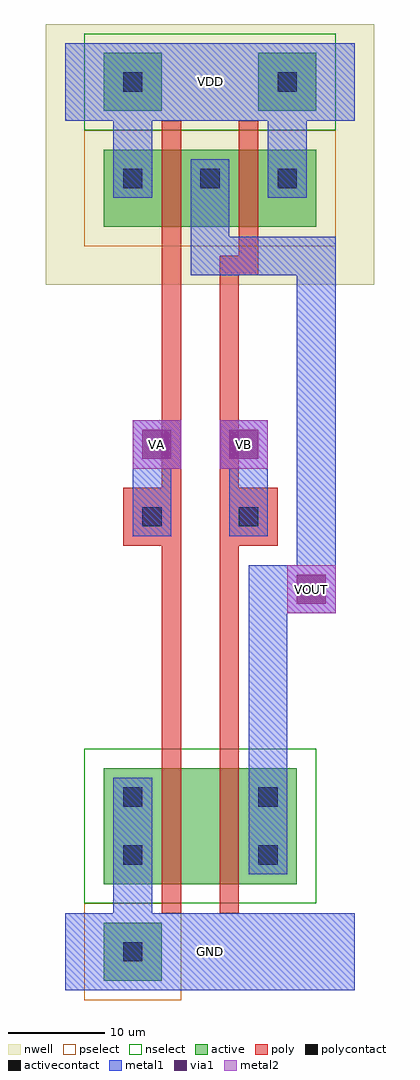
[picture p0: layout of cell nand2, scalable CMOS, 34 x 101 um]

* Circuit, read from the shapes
.subckt nand2 GND VA VB VDD VOUT
M1 n1 VA GND GND nfet w=12u l=2u
M2 VOUT VB n1 GND nfet w=12u l=2u
M3 VOUT VA VDD VDD pfet w=8u l=2u
M4 VDD VB VOUT VDD pfet w=8u l=2u
.ends

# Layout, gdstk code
import gdstk
lib = gdstk.Library(unit=1e-6, precision=1e-09)
def R(c, l, rs):  # rectangles x0, y0, x1, y1
    for r in rs: c.add(gdstk.rectangle(r[:2], r[2:], *l))
def A(c, l, x, y, w, h, nx, ny, dx, dy):  # array of equal rectangles
    R(c, l, [(x+i*dx, y+j*dy, x+i*dx+w, y+j*dy+h) for i in range(nx) for j in range(ny)])
nwell = (42, 0)
active = (43, 0)
pselect = (44, 0)
nselect = (45, 0)
poly = (46, 0)
polycontact = (47, 0)
activecontact = (48, 0)
metal1 = (49, 0)
via1 = (50, 0)
metal2 = (51, 0)

nand2 = lib.new_cell('nand2')
R(nand2, nwell, [(402,-492,436,-465)])
R(nand2, active, [(408,-564,414,-558), (408,-554,428,-548), (408,-548,428,-542), (408,-486,430,-484), (408,-484,430,-478), (408,-474,414,-468), (424,-474,430,-468)])
R(nand2, pselect, [(406,-566,416,-556), (406,-488,432,-476)])
R(nand2, nselect, [(406,-556,430,-540), (406,-476,432,-466)])
R(nand2, poly, [(414,-557,416,-545), (420,-557,422,-545), (410,-519,416,-513), (420,-519,426,-513), (414,-489,416,-475), (422,-489,424,-475)])
R(nand2, polycontact, [(412,-517,414,-515), (422,-517,424,-515)])
A(nand2, activecontact, 410, -482, 2, 2, 3, 1, 8, 0)
R(nand2, activecontact, [(410,-562,412,-560), (410,-552,412,-550), (424,-552,426,-550), (410,-546,412,-544), (424,-546,426,-544), (410,-472,412,-470), (426,-472,428,-470)])
A(nand2, metal1, 409, -483, 4, 4, 3, 1, 8, 0)
R(nand2, metal1, [(404,-565,434,-557), (409,-563,413,-559), (409,-553,413,-549), (423,-553,427,-549), (409,-547,413,-543), (423,-547,427,-543), (427,-526,432,-521), (411,-518,415,-514), (421,-518,425,-514), (411,-511,416,-506), (420,-511,425,-506), (404,-475,434,-467), (409,-473,413,-469), (425,-473,429,-469)])
R(nand2, via1, [(428,-525,431,-522), (412,-510,415,-507), (421,-510,424,-507)])
R(nand2, metal2, [(427,-526,432,-521), (411,-511,416,-506), (420,-511,425,-506)])
nand2.add(gdstk.FlexPath([(425,-543),(425,-521)], 4, ends="flush", simple_path=True, layer=49, datatype=0))  # metal1
nand2.add(gdstk.FlexPath([(430,-517),(430,-497)], 4, ends="flush", simple_path=True, layer=49, datatype=0))  # metal1
nand2.add(gdstk.FlexPath([(417,-489),(432,-489)], 4, ends="flush", simple_path=True, layer=49, datatype=0))  # metal1
nand2.add(gdstk.FlexPath([(419,-483),(419,-487)], 4, ends="flush", simple_path=True, layer=49, datatype=0))  # metal1
nand2.add(gdstk.FlexPath([(430,-491),(430,-497)], 4, ends="flush", simple_path=True, layer=49, datatype=0))  # metal1
nand2.add(gdstk.FlexPath([(423,-514),(423,-511)], 4, ends="flush", simple_path=True, layer=49, datatype=0))  # metal1
nand2.add(gdstk.FlexPath([(413,-514),(413,-511)], 4, ends="flush", simple_path=True, layer=49, datatype=0))  # metal1
nand2.add(gdstk.FlexPath([(411,-473),(411,-479)], 4, ends="flush", simple_path=True, layer=49, datatype=0))  # metal1
nand2.add(gdstk.FlexPath([(427,-473),(427,-479)], 4, ends="flush", simple_path=True, layer=49, datatype=0))  # metal1
nand2.add(gdstk.FlexPath([(430,-517),(430,-521)], 4, ends="flush", simple_path=True, layer=49, datatype=0))  # metal1
nand2.add(gdstk.FlexPath([(411,-553),(411,-559)], 4, ends="flush", simple_path=True, layer=49, datatype=0))  # metal1
nand2.add(gdstk.FlexPath([(425,-549),(425,-547)], 4, ends="flush", simple_path=True, layer=49, datatype=0))  # metal1
nand2.add(gdstk.FlexPath([(411,-549),(411,-547)], 4, ends="flush", simple_path=True, layer=49, datatype=0))  # metal1
nand2.add(gdstk.FlexPath([(415,-489),(415,-545)], 2, ends="flush", simple_path=True, layer=46, datatype=0))  # poly
nand2.add(gdstk.FlexPath([(421,-545),(421,-491)], 2, ends="flush", simple_path=True, layer=46, datatype=0))  # poly
nand2.add(gdstk.FlexPath([(420,-490),(424,-490)], 2, ends="flush", simple_path=True, layer=46, datatype=0))  # poly
nand2.add(gdstk.Label('VA', (413.5,-508.5), layer=51, texttype=0))
nand2.add(gdstk.Label('VB', (422.5,-508.5), layer=51, texttype=0))
nand2.add(gdstk.Label('VOUT', (429.5,-523.5), layer=51, texttype=0))
nand2.add(gdstk.Label('VDD', (419,-471), layer=49, texttype=0))
nand2.add(gdstk.Label('GND', (419,-561), layer=49, texttype=0))

lib.write_gds('nand2.gds')
